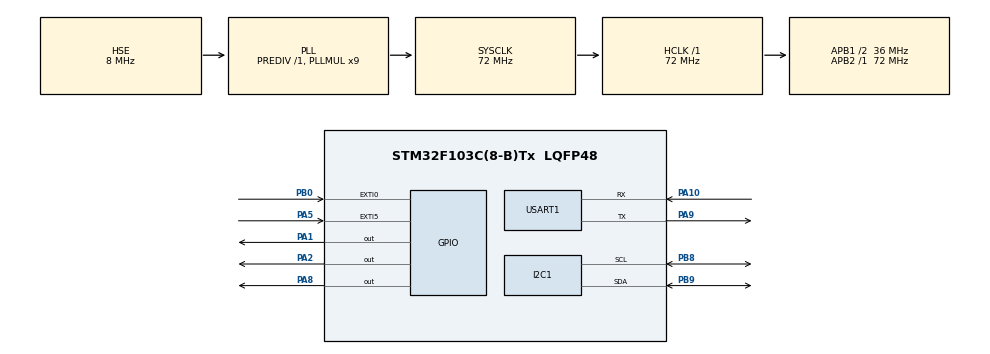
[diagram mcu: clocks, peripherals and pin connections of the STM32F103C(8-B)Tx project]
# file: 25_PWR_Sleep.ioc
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Dma.Request0=USART1_RX
Dma.USART1_RX.0.Direction=DMA_PERIPH_TO_MEMORY
Dma.USART1_RX.0.Instance=DMA1_Channel5
Dma.USART1_RX.0.MemDataAlignment=DMA_MDATAALIGN_BYTE
Dma.USART1_RX.0.MemInc=DMA_MINC_ENABLE
Dma.USART1_RX.0.Mode=DMA_CIRCULAR
Dma.USART1_RX.0.PeriphDataAlignment=DMA_PDATAALIGN_BYTE
Dma.USART1_RX.0.PeriphInc=DMA_PINC_DISABLE
Dma.USART1_RX.0.Priority=DMA_PRIORITY_LOW
Mcu.Family=STM32F1
Mcu.Name=STM32F103C(8-B)Tx
Mcu.Package=LQFP48
NVIC.DMA1_Channel5_IRQn=true\:0\:0\:false\:false\:true\:false\:true\:true
NVIC.EXTI0_IRQn=true\:0\:0\:false\:false\:true\:true\:true\:true
NVIC.EXTI9_5_IRQn=true\:0\:0\:false\:false\:true\:true\:true\:true
NVIC.PriorityGroup=NVIC_PRIORITYGROUP_4
NVIC.USART1_IRQn=true\:0\:0\:false\:false\:true\:true\:true\:true
PA1.Signal=GPIO_Output
PA10.GPIO_PuPd=GPIO_PULLUP
PA10.Mode=Asynchronous
PA10.Signal=USART1_RX
PA13.Mode=Serial_Wire
PA13.Signal=SYS_JTMS-SWDIO
PA14.Mode=Serial_Wire
PA14.Signal=SYS_JTCK-SWCLK
PA2.Signal=GPIO_Output
PA5.GPIO_ModeDefaultEXTI=GPIO_MODE_IT_FALLING
PA5.GPIO_PuPd=GPIO_PULLUP
PA5.Signal=GPXTI5
PA8.GPIO_ModeDefaultOutputPP=GPIO_MODE_OUTPUT_OD
PA8.GPIO_PuPd=GPIO_NOPULL
PA8.PinState=GPIO_PIN_SET
PA8.Signal=GPIO_Output
PA9.Mode=Asynchronous
PA9.Signal=USART1_TX
PB0.GPIO_ModeDefaultEXTI=GPIO_MODE_IT_FALLING
PB0.GPIO_PuPd=GPIO_PULLUP
PB0.Signal=GPXTI0
PB8.Mode=I2C
PB8.Signal=I2C1_SCL
PB9.Mode=I2C
PB9.Signal=I2C1_SDA
PD0-OSC_IN.Mode=HSE-External-Oscillator
PD0-OSC_IN.Signal=RCC_OSC_IN
PD1-OSC_OUT.Mode=HSE-External-Oscillator
PD1-OSC_OUT.Signal=RCC_OSC_OUT
ProjectManager.HeapSize=0x200
ProjectManager.StackSize=0x400
ProjectManager.TargetToolchain=STM32CubeIDE
RCC.AHBFreq_Value=72000000
RCC.APB1CLKDivider=RCC_HCLK_DIV2
RCC.APB1Freq_Value=36000000
RCC.APB1TimFreq_Value=72000000
RCC.APB2Freq_Value=72000000
RCC.APB2TimFreq_Value=72000000
RCC.HCLKFreq_Value=72000000
RCC.PLLMUL=RCC_PLL_MUL9
RCC.PLLSourceVirtual=RCC_PLLSOURCE_HSE
RCC.SYSCLKFreq_VALUE=72000000
RCC.SYSCLKSource=RCC_SYSCLKSOURCE_PLLCLK
RCC.USBFreq_Value=72000000
RTC.Date=7
RTC.Month=RTC_MONTH_FEBRUARY
RTC.WeekDay=RTC_WEEKDAY_SATURDAY
RTC.Year=25
USART1.VirtualMode=VM_ASYNC
VP_RTC_No_RTC_Output.Mode=RTC_OUT_NO
VP_RTC_VS_RTC_Activate.Mode=RTC_Enabled
VP_RTC_VS_RTC_Calendar.Mode=RTC_Calendar
board=custom

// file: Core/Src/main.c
/* USER CODE BEGIN Header */
/**
  ******************************************************************************
  * @file           : main.c
  * @brief          : Main program body
  ******************************************************************************
  * @attention
  *
  * Copyright (c) 2025 STMicroelectronics.
  * All rights reserved.
  *
  * This software is licensed under terms that can be found in the LICENSE file
  * in the root directory of this software component.
  * If no LICENSE file comes with this software, it is provided AS-IS.
  *
  ******************************************************************************
  */
/* USER CODE END Header */
#include "main.h"
#include "dma.h"
#include "i2c.h"
#include "rtc.h"
#include "usart.h"
#include "gpio.h"

/* USER CODE BEGIN Includes */
#include "oled.h"
/* USER CODE END Includes */

/* USER CODE BEGIN PV */
uint8_t RX1_Buffer[DMA_BUF_SIZE] = { 0 };
uint8_t RX1_OffSet = 0;

uint8_t Key_Value = 0;
/* USER CODE END PV */

void SystemClock_Config(void);

int main(void)
{

  /* MCU Configuration--------------------------------------------------------*/

  /* Reset of all peripherals, Initializes the Flash interface and the Systick. */
  HAL_Init();

  /* Configure the system clock */
  SystemClock_Config();

  /* Initialize all configured peripherals */
  MX_GPIO_Init();
  MX_DMA_Init();
  MX_USART1_UART_Init();
  MX_I2C1_Init();
  MX_RTC_Init();
  /* USER CODE BEGIN 2 */
  //HAL_UART_Receive_IT(&huart1, RX1_Buffer, 4);
  //HAL_UART_Receive_DMA(&huart1, RX1_Buffer, 1);
  __HAL_UART_ENABLE_IT(&huart1, UART_IT_IDLE);
  HAL_UART_Receive_DMA(&huart1, RX1_Buffer, DMA_BUF_SIZE);
  printf("The system has been initialized!\n");
  OLED_Init();
  printf("The OLED has been initialized!\n");
  //OLED_Test();
  //printf("The IWDG has been initialized!\n");
  printf("The WWDG has been initialized!\n");
  printf("The PWR sleep has been initialized!\n");
  /* USER CODE END 2 */

  /* Infinite loop */
  /* USER CODE BEGIN WHILE */
  while (1)
  {
	  //IWDG_Test();
	  //printf("HELLO WORLD!\n");
	  //HAL_Delay(1000);
	  //RTC_Test();
    /* USER CODE END WHILE */

    /* USER CODE BEGIN 3 */
	  printf("The system is running!\n");
	  LED_Control(LED1, ON);
	  HAL_Delay(2000);
	  LED_Control(LED1, OFF);

	  LED_Control(LED2, ON);
	  HAL_SuspendTick();
	  printf("The system is sleeping!\n");
	  HAL_PWR_EnterSLEEPMode(PWR_MAINREGULATOR_ON, PWR_SLEEPENTRY_WFI);

	  LED_Control(LED2, OFF);
	  HAL_ResumeTick();
	  printf("The system is awakened!\n");
  }
  /* USER CODE END 3 */
}

void SystemClock_Config(void)
{
  RCC_OscInitTypeDef RCC_OscInitStruct = {0};
  RCC_ClkInitTypeDef RCC_ClkInitStruct = {0};
  RCC_PeriphCLKInitTypeDef PeriphClkInit = {0};

  /** Initializes the RCC Oscillators according to the specified parameters
  * in the RCC_OscInitTypeDef structure.
  */
  RCC_OscInitStruct.OscillatorType = RCC_OSCILLATORTYPE_LSI|RCC_OSCILLATORTYPE_HSE;
  RCC_OscInitStruct.HSEState = RCC_HSE_ON;
  RCC_OscInitStruct.HSEPredivValue = RCC_HSE_PREDIV_DIV1;
  RCC_OscInitStruct.HSIState = RCC_HSI_ON;
  RCC_OscInitStruct.LSIState = RCC_LSI_ON;
  RCC_OscInitStruct.PLL.PLLState = RCC_PLL_ON;
  RCC_OscInitStruct.PLL.PLLSource = RCC_PLLSOURCE_HSE;
  RCC_OscInitStruct.PLL.PLLMUL = RCC_PLL_MUL9;
  if (HAL_RCC_OscConfig(&RCC_OscInitStruct) != HAL_OK)
  {
    Error_Handler();
  }

  /** Initializes the CPU, AHB and APB buses clocks
  */
  RCC_ClkInitStruct.ClockType = RCC_CLOCKTYPE_HCLK|RCC_CLOCKTYPE_SYSCLK
                              |RCC_CLOCKTYPE_PCLK1|RCC_CLOCKTYPE_PCLK2;
  RCC_ClkInitStruct.SYSCLKSource = RCC_SYSCLKSOURCE_PLLCLK;
  RCC_ClkInitStruct.AHBCLKDivider = RCC_SYSCLK_DIV1;
  RCC_ClkInitStruct.APB1CLKDivider = RCC_HCLK_DIV2;
  RCC_ClkInitStruct.APB2CLKDivider = RCC_HCLK_DIV1;

  if (HAL_RCC_ClockConfig(&RCC_ClkInitStruct, FLASH_LATENCY_2) != HAL_OK)
  {
    Error_Handler();
  }
  PeriphClkInit.PeriphClockSelection = RCC_PERIPHCLK_RTC;
  PeriphClkInit.RTCClockSelection = RCC_RTCCLKSOURCE_LSI;
  if (HAL_RCCEx_PeriphCLKConfig(&PeriphClkInit) != HAL_OK)
  {
    Error_Handler();
  }
}

void Error_Handler(void)
{
  __disable_irq();
  while (1)
  {
  }
}
